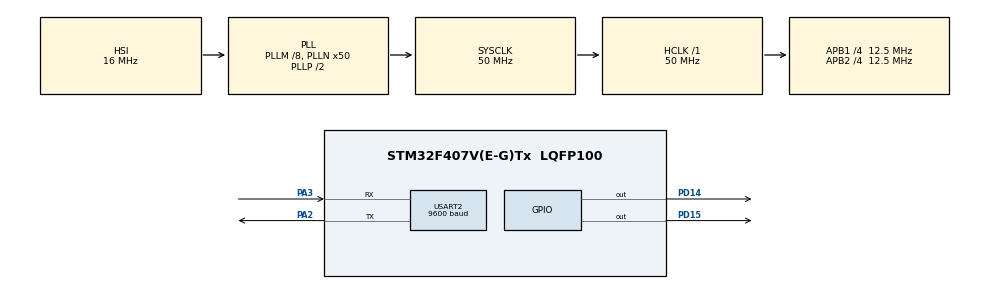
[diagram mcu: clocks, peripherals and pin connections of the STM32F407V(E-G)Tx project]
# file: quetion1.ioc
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Mcu.Family=STM32F4
RCC.CortexFreq_Value=50000000
RCC.APB1CLKDivider=RCC_HCLK_DIV4
USART2.BaudRate=9600
RCC.SYSCLKSource=RCC_SYSCLKSOURCE_PLLCLK
ProjectManager.StackSize=0x400
PA3.Mode=Asynchronous
ProjectManager.TargetToolchain=STM32CubeIDE
RCC.HCLKFreq_Value=50000000
RCC.APB2TimFreq_Value=25000000
RCC.LSE_VALUE=32768
RCC.AHBFreq_Value=50000000
RCC.HSE_VALUE=8000000
board=STM32F407G-DISC1
RCC.VCOOutputFreq_Value=100000000
PD15.PinState=GPIO_PIN_RESET
RCC.APB2Freq_Value=12500000
PD14.GPIO_PuPd=GPIO_NOPULL
Mcu.Name=STM32F407V(E-G)Tx
PA2.Signal=USART2_TX
PD14.Signal=GPIO_Output
RCC.48MHZClocksFreq_Value=14285714.285714285
RCC.SYSCLKFreq_VALUE=50000000
Mcu.Package=LQFP100
USART2.VirtualMode=VM_ASYNC
PD15.GPIO_ModeDefaultOutputPP=GPIO_MODE_OUTPUT_PP
PD15.GPIO_PuPd=GPIO_NOPULL
ProjectManager.HeapSize=0x200
RCC.HSI_VALUE=16000000
RCC.PLLQ=7
NVIC.PriorityGroup=NVIC_PRIORITYGROUP_0
RCC.APB2CLKDivider=RCC_HCLK_DIV4
RCC.PLLM=8
RCC.PLLN=50
RCC.APB1TimFreq_Value=25000000
PA2.Mode=Asynchronous
RCC.APB1Freq_Value=12500000
PD15.Signal=GPIO_Output
PA3.Signal=USART2_RX

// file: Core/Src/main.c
/* USER CODE BEGIN Header */
/**
  ******************************************************************************
  * @file           : main.c
  * @brief          : Main program body
  ******************************************************************************
  * @attention
  *
  * <h2><center>&copy; Copyright (c) 2022 STMicroelectronics.
  * All rights reserved.</center></h2>
  *
  * This software component is licensed by ST under Ultimate Liberty license
  * SLA0044, the "License"; You may not use this file except in compliance with
  * the License. You may obtain a copy of the License at:
  *                             www.st.com/SLA0044
  *
  ******************************************************************************
  */
/* USER CODE END Header */
#include "main.h"

/* USER CODE BEGIN Includes */
#include<stdio.h>
#include<string.h>

/* USER CODE END Includes */

UART_HandleTypeDef huart2;

void SystemClock_Config(void);
static void MX_GPIO_Init(void);
static void MX_USART2_UART_Init(void);

/* USER CODE BEGIN 0 */
void UartReceive(char str[])
{
	char ch;
	int i =0;

	do{
		HAL_UART_Receive(&huart2,(uint8_t*)&ch,1, HAL_MAX_DELAY);
		str[i] = ch;
		i++;

	}while(ch !='\r');
	str[i] = '\n';
	i++;
	str[i] = '\0';
}

/* USER CODE END 0 */

int main(void)
{
  /* USER CODE BEGIN 1 */
	char str[100];

	int choice;

  /* USER CODE END 1 */

  /* MCU Configuration--------------------------------------------------------*/

  /* Reset of all peripherals, Initializes the Flash interface and the Systick. */
  HAL_Init();

  /* Configure the system clock */
  SystemClock_Config();

  /* Initialize all configured peripherals */
  MX_GPIO_Init();
  MX_USART2_UART_Init();

  /* Infinite loop */
  while (1)
  {
	  strcpy(str,"Choose 1 Option.....\r\n1.RED LED ON.\r\n2.RED LED OFF\r\n3.Blue LED ON\r\n4.Blue LED OFF\r\n");
	  	  HAL_UART_Transmit(&huart2,(uint8_t*)str , strlen(str),HAL_MAX_DELAY);

	  	  UartReceive(str);

	  	  sscanf(str,"%d",&choice);
	  	  HAL_UART_Transmit(&huart2,(uint8_t*)str , strlen(str),HAL_MAX_DELAY);

	  	  switch(choice)
	  	  {
	  	  case 1:
	  		  HAL_GPIO_WritePin(GPIOD, GPIO_PIN_14, GPIO_PIN_SET);
	  		  HAL_Delay(1000);
	  		  break;

	  	  case 2:
	  		  HAL_GPIO_WritePin(GPIOD, GPIO_PIN_14, GPIO_PIN_RESET);
	  		  HAL_Delay(1000);
	  		  break;

	  	  case 3:
	  	  		  HAL_GPIO_WritePin(GPIOD, GPIO_PIN_15, GPIO_PIN_SET);
	  	  		  HAL_Delay(1000);
	  	  		  break;
	  	  case 4:
	  	  		  HAL_GPIO_WritePin(GPIOD, GPIO_PIN_15, GPIO_PIN_RESET);
	  	  		  HAL_Delay(1000);
	  	  		  break;
	  	  default:
	  		  strcpy(str,"Invalid Choice.....\r\n");
	  		  HAL_UART_Transmit(&huart2,(uint8_t*)str , strlen(str),HAL_MAX_DELAY);

	  	  }

  }
}

void SystemClock_Config(void)
{
  RCC_OscInitTypeDef RCC_OscInitStruct = {0};
  RCC_ClkInitTypeDef RCC_ClkInitStruct = {0};

  /** Configure the main internal regulator output voltage
  */
  __HAL_RCC_PWR_CLK_ENABLE();
  __HAL_PWR_VOLTAGESCALING_CONFIG(PWR_REGULATOR_VOLTAGE_SCALE1);
  /** Initializes the RCC Oscillators according to the specified parameters
  * in the RCC_OscInitTypeDef structure.
  */
  RCC_OscInitStruct.OscillatorType = RCC_OSCILLATORTYPE_HSI;
  RCC_OscInitStruct.HSIState = RCC_HSI_ON;
  RCC_OscInitStruct.HSICalibrationValue = RCC_HSICALIBRATION_DEFAULT;
  RCC_OscInitStruct.PLL.PLLState = RCC_PLL_ON;
  RCC_OscInitStruct.PLL.PLLSource = RCC_PLLSOURCE_HSI;
  RCC_OscInitStruct.PLL.PLLM = 8;
  RCC_OscInitStruct.PLL.PLLN = 50;
  RCC_OscInitStruct.PLL.PLLP = RCC_PLLP_DIV2;
  RCC_OscInitStruct.PLL.PLLQ = 7;
  if (HAL_RCC_OscConfig(&RCC_OscInitStruct) != HAL_OK)
  {
    Error_Handler();
  }
  /** Initializes the CPU, AHB and APB buses clocks
  */
  RCC_ClkInitStruct.ClockType = RCC_CLOCKTYPE_HCLK|RCC_CLOCKTYPE_SYSCLK
                              |RCC_CLOCKTYPE_PCLK1|RCC_CLOCKTYPE_PCLK2;
  RCC_ClkInitStruct.SYSCLKSource = RCC_SYSCLKSOURCE_PLLCLK;
  RCC_ClkInitStruct.AHBCLKDivider = RCC_SYSCLK_DIV1;
  RCC_ClkInitStruct.APB1CLKDivider = RCC_HCLK_DIV4;
  RCC_ClkInitStruct.APB2CLKDivider = RCC_HCLK_DIV4;

  if (HAL_RCC_ClockConfig(&RCC_ClkInitStruct, FLASH_LATENCY_1) != HAL_OK)
  {
    Error_Handler();
  }
}

static void MX_USART2_UART_Init(void)
{

  huart2.Instance = USART2;
  huart2.Init.BaudRate = 9600;
  huart2.Init.WordLength = UART_WORDLENGTH_8B;
  huart2.Init.StopBits = UART_STOPBITS_1;
  huart2.Init.Parity = UART_PARITY_NONE;
  huart2.Init.Mode = UART_MODE_TX_RX;
  huart2.Init.HwFlowCtl = UART_HWCONTROL_NONE;
  huart2.Init.OverSampling = UART_OVERSAMPLING_16;
  if (HAL_UART_Init(&huart2) != HAL_OK)
  {
    Error_Handler();
  }

}

static void MX_GPIO_Init(void)
{
  GPIO_InitTypeDef GPIO_InitStruct = {0};

  /* GPIO Ports Clock Enable */
  __HAL_RCC_GPIOA_CLK_ENABLE();
  __HAL_RCC_GPIOD_CLK_ENABLE();

  /*Configure GPIO pin Output Level */
  HAL_GPIO_WritePin(GPIOD, GPIO_PIN_14|GPIO_PIN_15, GPIO_PIN_RESET);

  /*Configure GPIO pins : PD14 PD15 */
  GPIO_InitStruct.Pin = GPIO_PIN_14|GPIO_PIN_15;
  GPIO_InitStruct.Mode = GPIO_MODE_OUTPUT_PP;
  GPIO_InitStruct.Pull = GPIO_NOPULL;
  GPIO_InitStruct.Speed = GPIO_SPEED_FREQ_LOW;
  HAL_GPIO_Init(GPIOD, &GPIO_InitStruct);

}

void Error_Handler(void)
{
  __disable_irq();
  while (1)
  {
  }
}

/************************ (C) COPYRIGHT STMicroelectronics *****END OF FILE****/
